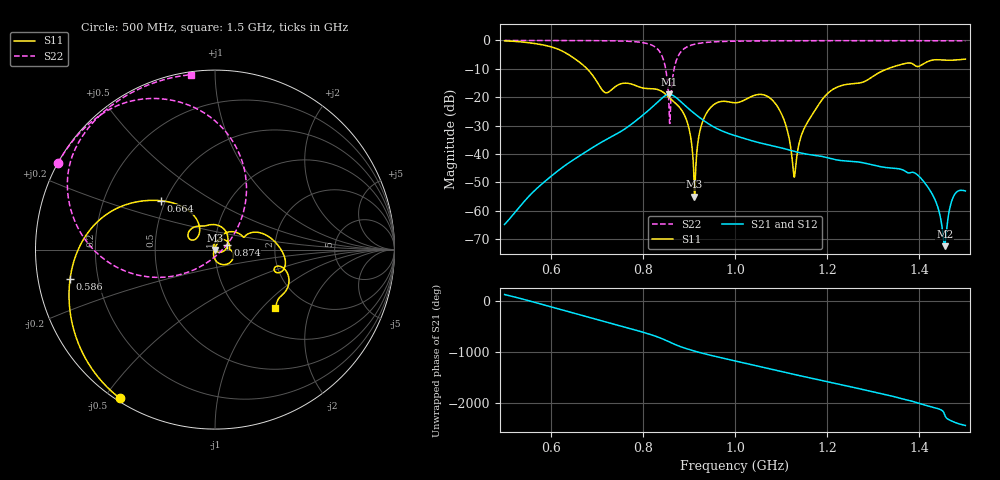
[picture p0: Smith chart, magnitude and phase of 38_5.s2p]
! TOUCHSTONE file generated by CST MICROWAVE STUDIO
! Date and time: Fri Oct  2 19:16:44 2020
! Project name: Scenario_1_Free_Space_out_of_line.cst
! Parameters = {Lambda=346.42; Step_1=17.321; dy1=-293.977; dx1=866; L_HA=400; MT=2.54; Rad_Dielectric=30; Rad_Lower=7.3; Rad_Upper=30; a_HA=580; a_WG=246; b_HA=500; b_WG=121; c_HA=0; c_WG=187; d_feed=85; h_feed=15; h_lower=18; h_upper=40}
! Header version: 2018
! Port assignment regex: !\s*Touchstone port\s*([0-9]+)\s*=\s*(CST MWS port|CST DS port)\s*([0-9]+|Zmin|Zmax)\s*\(\"(.*)\"\)(\s*mode\s*([0-9]+))?.*
! Touchstone port assignment:
! Touchstone port 1 = CST MWS port 1 ("")
! Touchstone port 2 = CST MWS port 2 ("")
# GHz S DB R 50
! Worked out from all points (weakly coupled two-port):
!   1003 points, 500 MHz to 1.5 GHz, reference 50 ohm
!   highest |S21| = -19.06 dB at 857 MHz (marker M1); lowest = -72.6 dB at 1.455 GHz (marker M2)
!   lowest |S11| = -55.1 dB at 912 MHz (marker M3), VSWR 1.00, Z = 49.9 - j0.165 ohm
!   |S11| at or under -10 dB: 678.9 MHz to 1.331 GHz (652.1 MHz wide, 64.9 % of centre)
!   |S22| runs from -29.3 to 0.0 dB; largest |S21 - S12| = 3.1e-05
!   S11 on the Smith chart (normalised r, x): 500 MHz: 0.01, -0.55; 586 MHz: 0.10, -0.10; 664 MHz: 0.47, +0.31; 874 MHz: 1.15, +0.06; 1.5 GHz: 1.42, -1.19
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0.5  -0.15 -122.6  -64.87 129.8  -64.87 129.8  -0.01 151.2
0.586  -1.68 -168.4  -49.91 -74.1  -49.91 -74.1  -0.02 145.2
0.664  -7.86 137.8  -40.56 92.0  -40.56 92.0  -0.04 138.6
0.667  -8.24 135.9  -40.25 84.7  -40.25 84.7  -0.04 138.3
0.719  -18.42 141.3  -35.10 -44.6  -35.10 -44.6  -0.10 132.4
0.834  -17.42 79.7  -21.43 13.9  -21.43 13.9  -3.40 86.2
0.847  -18.63 58.5  -19.65 -33.6  -19.65 -33.6  -8.13 63.4
0.857  -20.13 43.4  -19.06 -74.9  -19.06 -74.9  -24.20 18.0
0.874  -22.64 19.4  -20.38 -142.6  -20.38 -142.6  -6.48 -163.4
0.898  -29.73 -27.9  -23.88 142.0  -23.88 142.0  -2.10 169.8
0.912  -55.13 -109.7  -25.78 104.6  -25.78 104.6  -1.34 161.8
0.939  -25.42 75.0  -29.02 39.9  -29.02 39.9  -0.67 152.0
1  -21.98 3.1  -33.56 -88.6  -33.56 -88.6  -0.26 140.3
1.083  -21.37 -69.9  -37.21 100.3  -37.21 100.3  -0.13 131.3
1.109  -29.24 -102.9  -38.25 46.5  -38.25 46.5  -0.12 129.0
1.129  -48.18 148.4  -39.13 6.1  -39.13 6.1  -0.11 127.3
1.167  -26.32 69.0  -40.38 -68.0  -40.38 -68.0  -0.10 124.2
1.334  -9.82 10.5  -44.93 -42.9  -44.93 -42.9  -0.09 111.5
1.409  -8.21 -14.7  -49.66 134.5  -49.66 134.5  -0.10 105.6
1.455  -6.95 -35.4  -72.56 -60.2  -72.51 -60.2  -0.12 101.8
1.474  -6.94 -39.3  -55.10 161.3  -55.22 161.2  -0.13 100.2
1.5  -6.59 -44.3  -53.07 89.7  -53.14 90.0  -0.14 97.9
